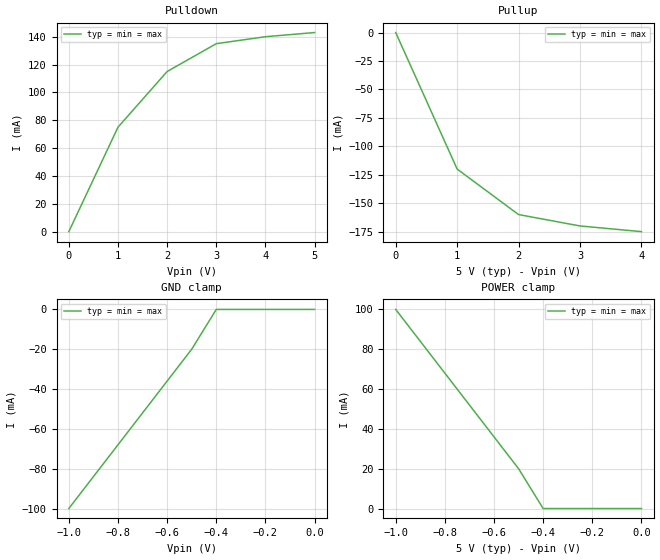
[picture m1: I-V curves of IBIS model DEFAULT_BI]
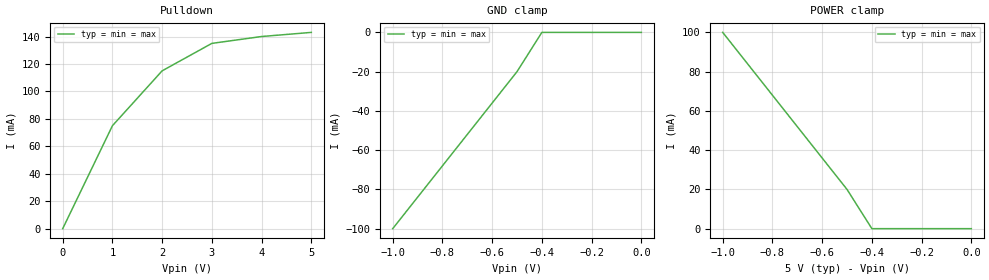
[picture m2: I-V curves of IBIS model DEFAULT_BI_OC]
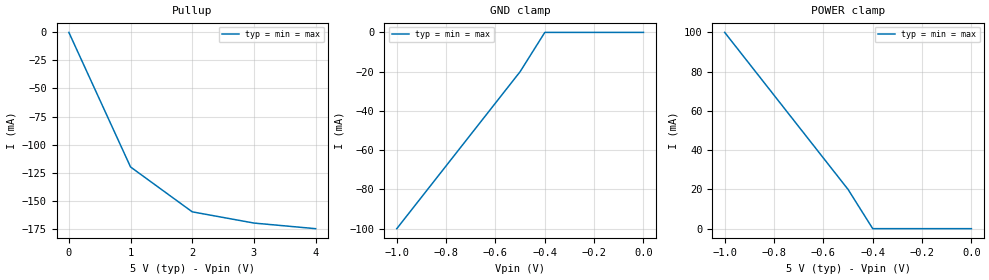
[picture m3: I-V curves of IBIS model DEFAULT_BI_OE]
[Ibis Ver]	3.2
[File Name]	tech_default_r17.ibs
[File Rev]	0.5
[Date]	Sun Jan  5 18:26:22 2020
[Notes]	This file is automatically generated and may not fully comply
   with some of the name length and numerical size restrictions in the
   IBIS Specification.  These length and size violations can be
   detected with the IBIS Open Forum ibischk3 utility, and the
   violations may need to be corrected before the file can be
   used outide of the ICX environment.
[Component]	tech_default_r17
[Manufacturer] 	Mentor Graphics ICX-Pro
[Package]
|		typ		min		max
R_pkg		0.0		0.0		0.0
L_pkg		3.000000nH		NA		NA
C_pkg		2.000000pF		NA		NA
[Pin]	signal_name	model_name	R_pin	L_pin	C_pin
i	Input		DEFAULT_IN
o	Output		DEFAULT_OUT
tri	Tri-state		DEFAULT_TRI
oc	Open-drain		DEFAULT_OC
oe	Open-source		DEFAULT_OE
bi	Bidirectional		DEFAULT_BI
bi_oc	Bi_Open_Drain		DEFAULT_BI_OC
bi_oe	Bi_Open_Source		DEFAULT_BI_OE
| Models and submodels in the file (8): DEFAULT_BI (I/O), DEFAULT_BI_OC (I/O_open_drain), DEFAULT_BI_OE (I/O_open_source), DEFAULT_IN (Input), DEFAULT_OC (Open_drain), DEFAULT_OE (Open_source), DEFAULT_OUT (Output), DEFAULT_TRI (3-state)
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[Model]		DEFAULT_BI
Model_type	I/O
Polarity	Non-Inverting
Enable		Active-High
Vmeas = 2.500000V
Cref = 50.000000pF
Vref = 0.0V
Rref = 0.500000k
Vinl = 1.500000V
Vinh = 3.500000V
|		typ		min		max
C_comp		5.500000pF		2.000000pF		8.000000pF
|			typ		min		max
[voltage range]	5.000000V		4.500000V		5.500000V
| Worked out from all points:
|   slope of the pulldown table from 0 to 0.75 V, typ, clamps not added: 13.3 ohm
|   slope of the pullup table from 0 to 0.75 V, typ, clamps not added: 8.33 ohm
|   GND clamp passes 1 mA (typ) near -0.41 V on its own axis
|   POWER clamp passes 1 mA (typ) near -0.41 V on its own axis
[Pulldown]
|	Voltage		I(typ)		I(min)		I(max)
0V        0A         0A         0A
1V        75mA       75mA       75mA
2V        115mA      115mA      115mA
3V        135mA      135mA      135mA
4V        140mA      140mA      140mA
5V        143mA      143mA      143mA
[Pullup]
|	Voltage		I(typ)		I(min)		I(max)
0V        0A         0A         0A
1V        -120mA     -120mA     -120mA
2V        -160mA     -160mA     -160mA
3V        -170mA     -170mA     -170mA
4V        -175mA     -175mA     -175mA
[Gnd Clamp]
|	Voltage		I(typ)		I(min)		I(max)
-1V       -100mA     -100mA     -100mA
-500mV    -20mA      -20mA      -20mA
-400mV    0A         0A         0A
0V        0A         0A         0A
[Power Clamp]
|	Voltage		I(typ)		I(min)		I(max)
-1V       100mA      100mA      100mA
-500mV    20mA       20mA       20mA
-400mV    0A         0A         0A
0V        0A         0A         0A
[Ramp]
|  variable	typ		min		max
dV/dt_r		2/1.200000ns	2/1.500000ns	2/1.000000ns
dV/dt_f		2/1.200000ns	2/1.500000ns	2/1.000000ns
R_load = 	50Ohms
[Model]		DEFAULT_BI_OC
Model_type	I/O_open_drain
Polarity	Non-Inverting
Enable		Active-High
Vmeas = 2.500000V
Cref = 50.000000pF
Vref = 5.000000V
Rref = 0.250000k
Vinl = 1.500000V
Vinh = 3.500000V
|		typ		min		max
C_comp		5.500000pF		2.000000pF		8.000000pF
|			typ		min		max
[voltage range]	5.000000V		4.500000V		5.500000V
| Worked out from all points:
|   slope of the pulldown table from 0 to 0.75 V, typ, clamps not added: 13.3 ohm
|   GND clamp passes 1 mA (typ) near -0.41 V on its own axis
|   POWER clamp passes 1 mA (typ) near -0.41 V on its own axis
[Pulldown]
|	Voltage		I(typ)		I(min)		I(max)
0V        0A         0A         0A
1V        75mA       75mA       75mA
2V        115mA      115mA      115mA
3V        135mA      135mA      135mA
4V        140mA      140mA      140mA
5V        143mA      143mA      143mA
[Gnd Clamp]
|	Voltage		I(typ)		I(min)		I(max)
-1V       -100mA     -100mA     -100mA
-500mV    -20mA      -20mA      -20mA
-400mV    0A         0A         0A
0V        0A         0A         0A
[Power Clamp]
|	Voltage		I(typ)		I(min)		I(max)
-1V       100mA      100mA      100mA
-500mV    20mA       20mA       20mA
-400mV    0A         0A         0A
0V        0A         0A         0A
[Ramp]
|  variable	typ		min		max
dV/dt_r		2/1.200000ns	2/1.500000ns	2/1.000000ns
dV/dt_f		2/1.200000ns	2/1.500000ns	2/1.000000ns
R_load = 	50Ohms
[Model]		DEFAULT_BI_OE
Model_type	I/O_open_source
Polarity	Non-Inverting
Enable		Active-High
Vmeas = 2.500000V
Cref = 50.000000pF
Vref = 0.0V
Rref = 0.250000k
Vinl = 1.500000V
Vinh = 3.500000V
|		typ		min		max
C_comp		5.500000pF		2.000000pF		8.000000pF
|			typ		min		max
[voltage range]	5.000000V		4.500000V		5.500000V
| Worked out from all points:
|   slope of the pullup table from 0 to 0.75 V, typ, clamps not added: 8.33 ohm
|   GND clamp passes 1 mA (typ) near -0.41 V on its own axis
|   POWER clamp passes 1 mA (typ) near -0.41 V on its own axis
[Pullup]
|	Voltage		I(typ)		I(min)		I(max)
0V        0A         0A         0A
1V        -120mA     -120mA     -120mA
2V        -160mA     -160mA     -160mA
3V        -170mA     -170mA     -170mA
4V        -175mA     -175mA     -175mA
[Gnd Clamp]
|	Voltage		I(typ)		I(min)		I(max)
-1V       -100mA     -100mA     -100mA
-500mV    -20mA      -20mA      -20mA
-400mV    0A         0A         0A
0V        0A         0A         0A
[Power Clamp]
|	Voltage		I(typ)		I(min)		I(max)
-1V       100mA      100mA      100mA
-500mV    20mA       20mA       20mA
-400mV    0A         0A         0A
0V        0A         0A         0A
[Ramp]
|  variable	typ		min		max
dV/dt_r		2/1.200000ns	2/1.500000ns	2/1.000000ns
dV/dt_f		2/1.200000ns	2/1.500000ns	2/1.000000ns
R_load = 	50Ohms
